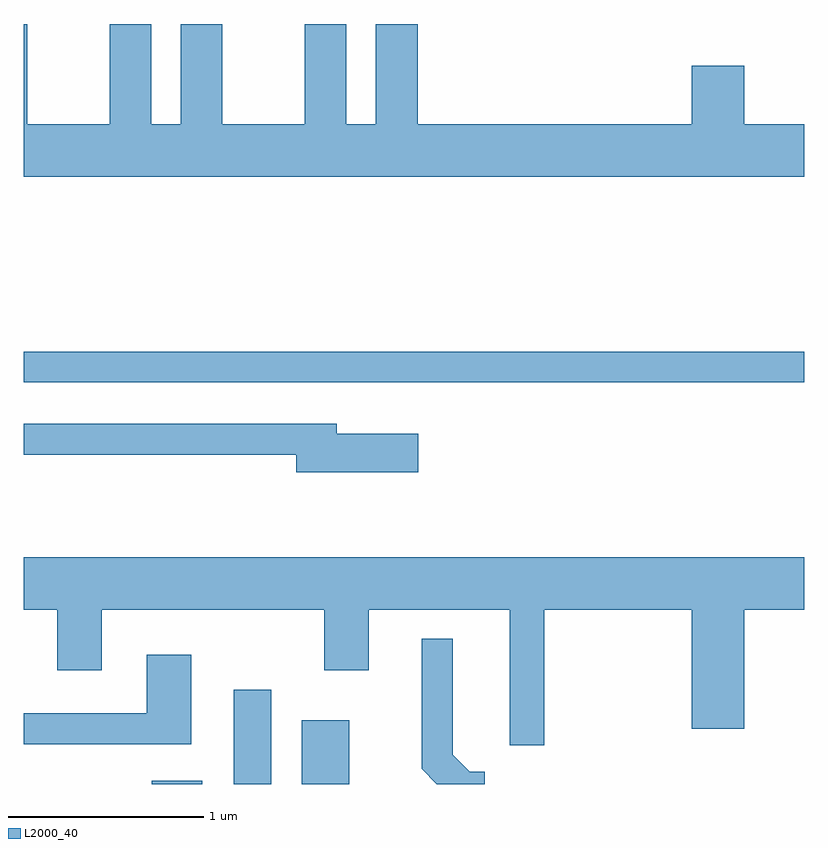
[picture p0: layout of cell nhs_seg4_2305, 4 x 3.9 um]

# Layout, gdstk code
import gdstk
lib = gdstk.Library(unit=1e-6, precision=1e-09)
def R(c, l, rs):  # rectangles x0, y0, x1, y1
    for r in rs: c.add(gdstk.rectangle(r[:2], r[2:], *l))
def P(c, l, *ps):  # polygons
    for p in ps: c.add(gdstk.Polygon(p, *l))
L2000_40 = (2000, 40)

nhs_seg4_2305 = lib.new_cell('nhs_seg4_2305')
R(nhs_seg4_2305, L2000_40, [(252.266,1375.982,252.524,1375.999), (252.686,1375.982,252.879,1376.464), (253.036,1375.982,253.279,1376.309), (251.611,1378.041,255.611,1378.199)])
P(nhs_seg4_2305, L2000_40, [(252.051,1379.879),(252.051,1379.364),(251.629,1379.364),(251.629,1379.879),(251.611,1379.879),(251.611,1379.096),(255.611,1379.096),(255.611,1379.364),(255.304,1379.364),(255.304,1379.664),(255.036,1379.664),(255.036,1379.364),(253.629,1379.364),(253.629,1379.879),(253.416,1379.879),(253.416,1379.364),(253.264,1379.364),(253.264,1379.879),(253.051,1379.879),(253.051,1379.364),(252.629,1379.364),(252.629,1379.879),(252.416,1379.879),(252.416,1379.364),(252.264,1379.364),(252.264,1379.879)],
  [(253.634,1377.779),(253.214,1377.779),(253.214,1377.829),(251.611,1377.829),(251.611,1377.671),(253.006,1377.671),(253.006,1377.581),(253.634,1377.581)],
  [(254.279,1376.876),(255.036,1376.876),(255.036,1376.266),(255.304,1376.266),(255.304,1376.876),(255.611,1376.876),(255.611,1377.144),(251.611,1377.144),(251.611,1376.876),(251.781,1376.876),(251.781,1376.566),(252.009,1376.566),(252.009,1376.876),(253.151,1376.876),(253.151,1376.566),(253.379,1376.566),(253.379,1376.876),(254.101,1376.876),(254.101,1376.181),(254.279,1376.181)],
  [(253.974,1376.044),(253.897,1376.044),(253.809,1376.132),(253.809,1376.728),(253.651,1376.728),(253.651,1376.059),(253.728,1375.982),(253.974,1375.982)],
  [(252.469,1376.644),(252.241,1376.644),(252.241,1376.344),(251.611,1376.344),(251.611,1376.186),(252.469,1376.186)])

lib.write_gds('nhs_seg4_2305.gds')
